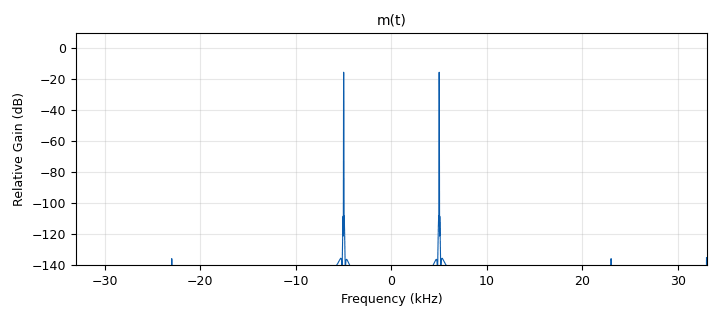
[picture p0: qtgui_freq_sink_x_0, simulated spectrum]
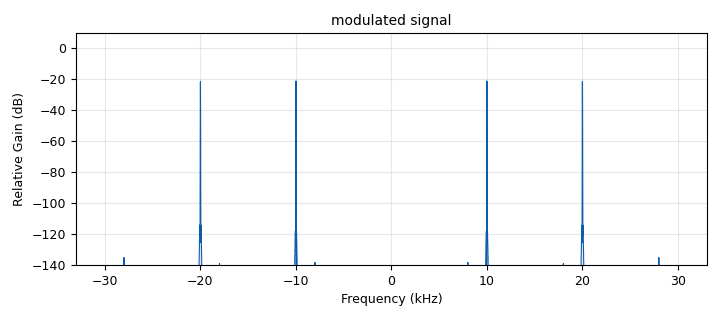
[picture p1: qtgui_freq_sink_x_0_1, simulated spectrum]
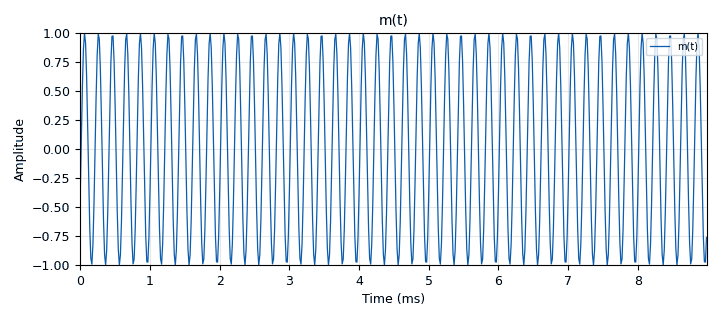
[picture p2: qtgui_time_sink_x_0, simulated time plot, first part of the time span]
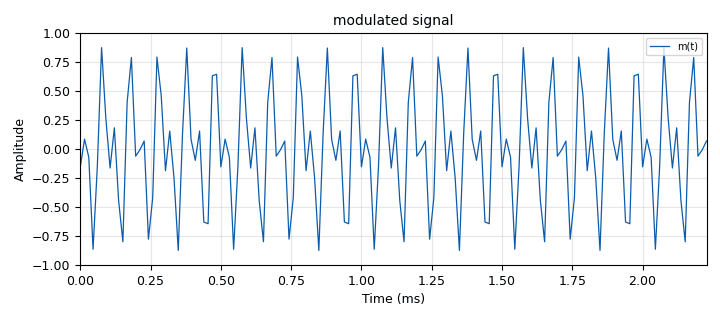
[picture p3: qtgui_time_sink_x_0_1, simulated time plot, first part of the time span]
options:
  parameters:
    author: hebam
    generate_options: qt_gui
    id: transmittorNormal
    output_language: python
    title: Not titled yet
  states: {}

blocks:
- name: samp_rate
  id: variable
  parameters:
    value: '66000'
  states: {}
- name: analog_sig_source_x_0_0
  id: analog_sig_source_x
  parameters:
    amp: '1'
    freq: '15000'
    offset: '0'
    phase: '0'
    samp_rate: samp_rate
    type: float
    waveform: analog.GR_COS_WAVE
  states: {}
- name: analog_sig_source_x_0_0_0
  id: analog_sig_source_x
  parameters:
    amp: '1'
    freq: '5000'
    offset: '0'
    phase: '0'
    samp_rate: samp_rate
    type: float
    waveform: analog.GR_SIN_WAVE
  states: {}
- name: blocks_float_to_complex_0
  id: blocks_float_to_complex
  parameters: {}
  states: {}
- name: blocks_multiply_xx_0
  id: blocks_multiply_xx
  parameters:
    type: float
  states: {}
- name: iio_pluto_sink_0
  id: iio_pluto_sink
  parameters:
    attenuation1: '10.0'
    bandwidth: '20000000'
    buffer_size: '32768'
    cyclic: 'False'
    filter_source: '''Auto'''
    frequency: '2400000000'
    samplerate: samp_rate
    type: fc32
  states: {}
- name: qtgui_freq_sink_x_0
  id: qtgui_freq_sink_x
  parameters:
    bw: samp_rate
    fc: '0'
    fftsize: '8192'
    name: '"m(t)"'
    type: float
  states: {}
- name: qtgui_freq_sink_x_0_1
  id: qtgui_freq_sink_x
  parameters:
    bw: samp_rate
    fc: '0'
    fftsize: '8192'
    name: '"modulated signal"'
    type: float
  states: {}
- name: qtgui_time_sink_x_0
  id: qtgui_time_sink_x
  parameters:
    ctrlpanel: 'True'
    label1: m(t)
    name: '"m(t)"'
    size: '1024'
    srate: samp_rate
    type: float
  states: {}
- name: qtgui_time_sink_x_0_1
  id: qtgui_time_sink_x
  parameters:
    ctrlpanel: 'True'
    label1: m(t)
    name: '"modulated signal"'
    size: '1024'
    srate: samp_rate
    type: float
  states: {}

connections:
- [analog_sig_source_x_0_0, '0', blocks_multiply_xx_0, '1']
- [analog_sig_source_x_0_0_0, '0', blocks_multiply_xx_0, '0']
- [analog_sig_source_x_0_0_0, '0', qtgui_freq_sink_x_0, '0']
- [analog_sig_source_x_0_0_0, '0', qtgui_time_sink_x_0, '0']
- [blocks_float_to_complex_0, '0', iio_pluto_sink_0, '0']
- [blocks_multiply_xx_0, '0', blocks_float_to_complex_0, '0']
- [blocks_multiply_xx_0, '0', qtgui_freq_sink_x_0_1, '0']
- [blocks_multiply_xx_0, '0', qtgui_time_sink_x_0_1, '0']

metadata:
  file_format: 1
  grc_version: 3.10.10.0
